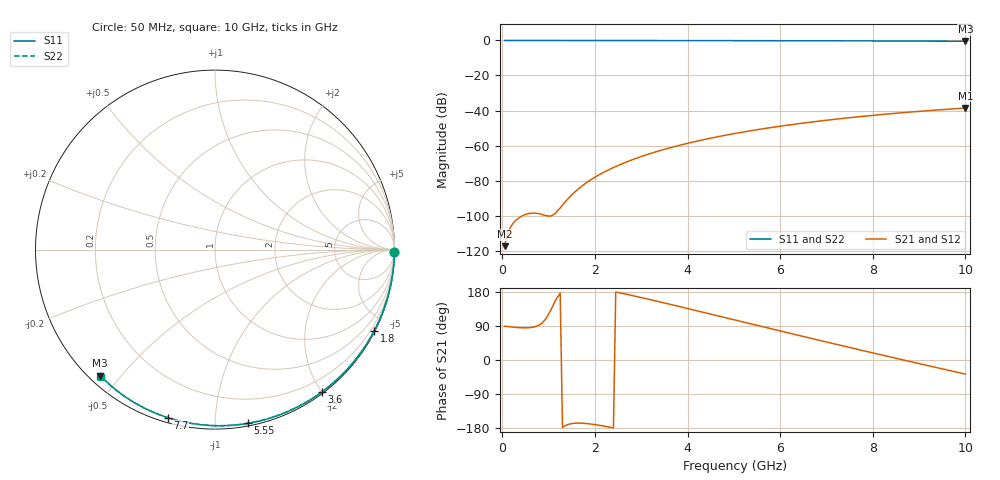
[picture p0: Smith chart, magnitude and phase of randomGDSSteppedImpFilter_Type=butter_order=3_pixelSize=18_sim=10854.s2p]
! freq	dB(S11)	phase(S11)	dB(S12)	phase(S12)
!  dB(S21)	phase(S21)	dB(S22)	phase(S22)
!S-par simulation data
#  GHz  S  DB  R 50
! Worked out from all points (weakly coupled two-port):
!   200 points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, 50 MHz to 10 GHz, reference 50 ohm
!   highest |S21| = -38.60 dB at 10 GHz (marker M1); lowest = -117.5 dB at 50 MHz (marker M2)
!   lowest |S11| = -0.4 dB at 10 GHz (marker M3), VSWR 38.69, Z = 1.54 - j22 ohm
!   |S11| at or under -10 dB: nowhere
!   |S22| runs from -0.4 to 0.0 dB; largest |S21 - S12| = 0
!   S11 on the Smith chart (normalised r, x): 50 MHz: open; 1.8 GHz: 0.04, -4.15; 3.6 GHz: 0.02, -2.00; 5.55 GHz: 0.02, -1.21; 7.7 GHz: 0.02, -0.76; 10 GHz: 0.03, -0.44
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0.05  -0.00 -0.8  -117.45 89.3  -117.45 89.3  -0.00 -0.8
0.45  -0.01 -6.9  -99.88 84.9  -99.88 84.9  -0.01 -6.8
0.9  -0.02 -13.7  -99.70 102.9  -99.70 102.9  -0.02 -13.6
1.75  -0.03 -26.4  -82.51 -166.9  -82.51 -166.9  -0.03 -26.2
1.8  -0.03 -27.1  -81.54 -167.4  -81.54 -167.4  -0.03 -27.0
1.9  -0.04 -28.6  -79.75 -168.7  -79.75 -168.7  -0.04 -28.4
2.05  -0.04 -30.8  -77.32 -171.4  -77.32 -171.4  -0.04 -30.6
2.25  -0.04 -33.7  -74.47 -175.6  -74.47 -175.6  -0.04 -33.6
2.45  -0.05 -36.6  -71.96 179.5  -71.96 179.5  -0.05 -36.5
2.65  -0.05 -39.5  -69.72 174.4  -69.72 174.4  -0.05 -39.3
3  -0.06 -44.5  -66.28 164.8  -66.28 164.8  -0.06 -44.3
3.4  -0.07 -50.2  -62.92 153.4  -62.92 153.4  -0.07 -50.0
3.6  -0.07 -53.0  -61.43 147.6  -61.43 147.6  -0.07 -52.8
4.3  -0.09 -62.6  -56.90 127.0  -56.90 127.0  -0.09 -62.3
5.05  -0.11 -72.7  -52.98 104.8  -52.98 104.8  -0.11 -72.3
5.55  -0.13 -79.2  -50.75 90.0  -50.75 90.0  -0.13 -78.8
6.1  -0.15 -86.2  -48.59 73.7  -48.59 73.7  -0.15 -85.8
6.7  -0.18 -93.7  -46.50 56.2  -46.50 56.2  -0.18 -93.2
7.7  -0.24 -105.8  -43.55 27.3  -43.55 27.3  -0.24 -105.3
8.35  -0.29 -113.4  -41.92 8.8  -41.92 8.8  -0.29 -112.9
9.15  -0.36 -122.7  -40.17 -13.7  -40.17 -13.7  -0.36 -122.1
10  -0.45 -132.4  -38.60 -37.2  -38.60 -37.2  -0.44 -131.8
